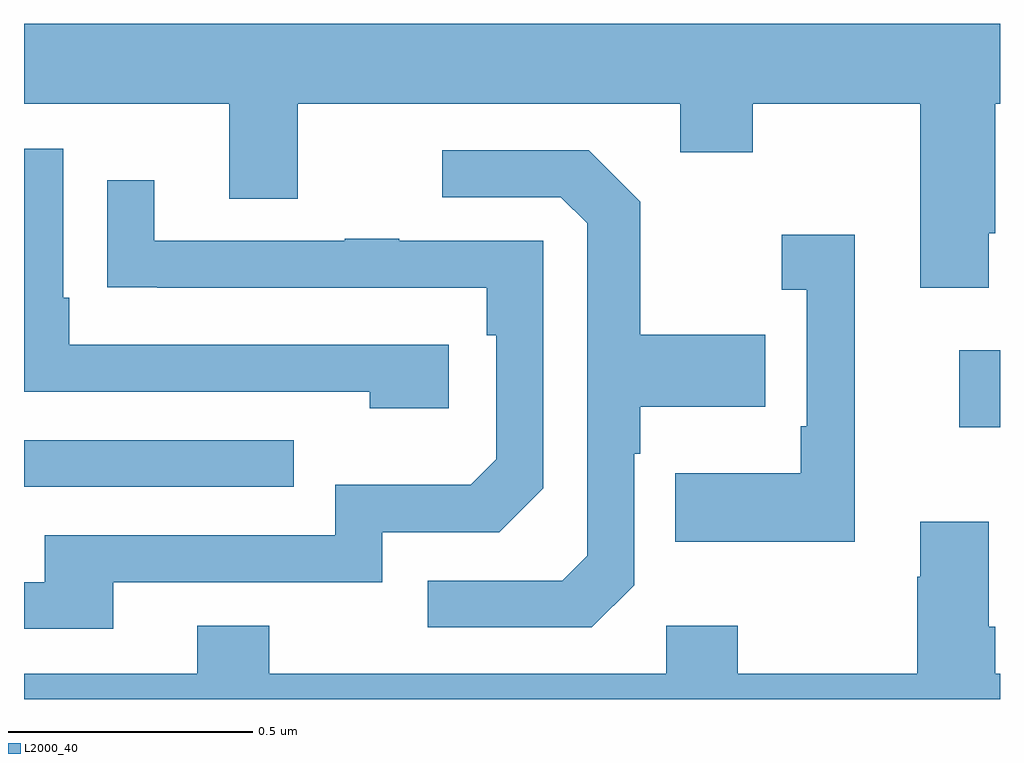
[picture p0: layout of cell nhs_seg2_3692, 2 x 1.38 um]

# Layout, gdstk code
import gdstk
lib = gdstk.Library(unit=1e-6, precision=1e-09)
def R(c, l, rs):  # rectangles x0, y0, x1, y1
    for r in rs: c.add(gdstk.rectangle(r[:2], r[2:], *l))
def P(c, l, *ps):  # polygons
    for p in ps: c.add(gdstk.Polygon(p, *l))
L2000_40 = (2000, 40)

nhs_seg2_3692 = lib.new_cell('nhs_seg2_3692')
R(nhs_seg2_3692, L2000_40, [(157,596.235,157.553,596.331), (158.916,596.357,159,596.515)])
P(nhs_seg2_3692, L2000_40, [(158.977,596.755),(158.99,596.755),(158.99,597.02),(159,597.02),(159,597.184),(157,597.184),(157,597.02),(157.421,597.02),(157.421,596.826),(157.561,596.826),(157.561,597.02),(158.345,597.02),(158.345,596.921),(158.493,596.921),(158.493,597.02),(158.837,597.02),(158.837,596.643),(158.977,596.643)],
  [(157.87,596.526),(157.093,596.526),(157.093,596.623),(157.08,596.623),(157.08,596.928),(157,596.928),(157,596.43),(157.709,596.43),(157.709,596.396),(157.87,596.396)],
  [(158.25,596.034),(158.25,596.303),(158.263,596.303),(158.263,596.399),(158.519,596.399),(158.519,596.547),(158.263,596.547),(158.263,596.819),(158.157,596.925),(157.857,596.925),(157.857,596.829),(158.1,596.829),(158.154,596.775),(158.154,596.094),(158.103,596.043),(157.827,596.043),(157.827,595.947),(158.163,595.947)],
  [(157.183,596.04),(157.734,596.04),(157.734,596.142),(157.974,596.142),(158.064,596.232),(158.064,596.739),(157.769,596.739),(157.769,596.744),(157.657,596.744),(157.657,596.739),(157.267,596.739),(157.267,596.863),(157.171,596.863),(157.171,596.644),(157.273,596.644),(157.273,596.643),(157.948,596.643),(157.948,596.546),(157.968,596.546),(157.968,596.292),(157.915,596.239),(157.638,596.239),(157.638,596.136),(157.043,596.136),(157.043,596.04),(157,596.04),(157,595.944),(157.183,595.944)],
  [(158.702,596.752),(158.553,596.752),(158.553,596.639),(158.604,596.639),(158.604,596.359),(158.592,596.359),(158.592,596.263),(158.335,596.263),(158.335,596.123),(158.702,596.123)],
  [(159,595.852),(158.99,595.852),(158.99,595.948),(158.977,595.948),(158.977,596.164),(158.837,596.164),(158.837,596.051),(158.83,596.051),(158.83,595.852),(158.463,595.852),(158.463,595.951),(158.316,595.951),(158.316,595.852),(157.503,595.852),(157.503,595.951),(157.355,595.951),(157.355,595.852),(157,595.852),(157,595.8),(159,595.8)])

lib.write_gds('nhs_seg2_3692.gds')
